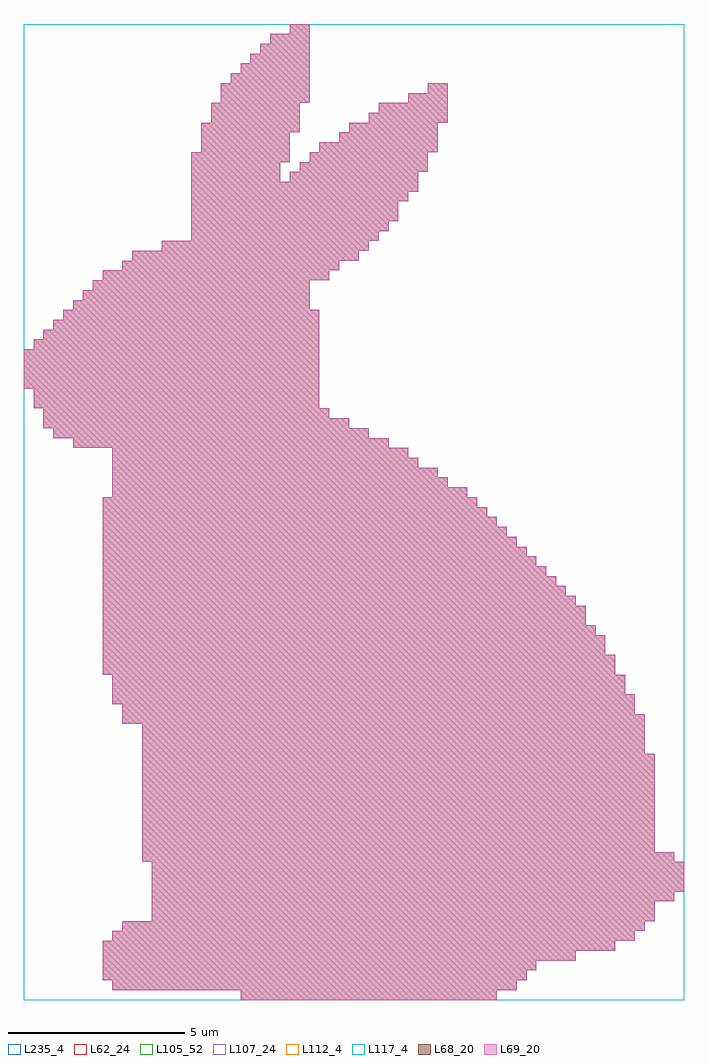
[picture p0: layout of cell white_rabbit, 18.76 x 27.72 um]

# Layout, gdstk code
import gdstk
lib = gdstk.Library(unit=1e-6, precision=1e-09)
def R(c, l, rs):  # rectangles x0, y0, x1, y1
    for r in rs: c.add(gdstk.rectangle(r[:2], r[2:], *l))
def A(c, l, x, y, w, h, nx, ny, dx, dy):  # array of equal rectangles
    R(c, l, [(x+i*dx, y+j*dy, x+i*dx+w, y+j*dy+h) for i in range(nx) for j in range(ny)])
L62_24 = (62, 24)
L68_20 = (68, 20)
L69_20 = (69, 20)
L105_52 = (105, 52)
L107_24 = (107, 24)
L112_4 = (112, 4)
L117_4 = (117, 4)
L235_4 = (235, 4)

white_rabbit = lib.new_cell('white_rabbit')
R(white_rabbit, L62_24, [(0,0,18.76,27.72)])
A(white_rabbit, L68_20, 6.16, 0, 0.28, 0.28, 26, 1, 0.28, 0)
A(white_rabbit, L68_20, 2.52, 0.28, 0.28, 0.28, 41, 1, 0.28, 0)
A(white_rabbit, L68_20, 2.24, 0.56, 0.28, 0.28, 43, 2, 0.28, 12.04)
A(white_rabbit, L68_20, 2.24, 0.84, 0.28, 0.28, 44, 2, 0.28, 11.48)
A(white_rabbit, L68_20, 2.24, 1.12, 0.28, 0.28, 48, 2, 0.28, 10.08)
A(white_rabbit, L68_20, 2.24, 1.4, 0.28, 0.28, 52, 2, 0.28, 7.84)
A(white_rabbit, L68_20, 2.52, 1.68, 0.28, 0.28, 53, 2, 0.28, 6.72)
A(white_rabbit, L68_20, 2.8, 1.96, 0.28, 0.28, 53, 2, 0.28, 5.88)
A(white_rabbit, L68_20, 3.64, 2.24, 0.28, 0.28, 51, 2, 0.28, 0.28)
A(white_rabbit, L68_20, 3.64, 2.8, 0.28, 0.28, 53, 1, 0.28, 0)
A(white_rabbit, L68_20, 3.64, 3.08, 0.28, 0.28, 54, 3, 0.28, 0.28)
A(white_rabbit, L68_20, 3.36, 3.92, 0.28, 0.28, 54, 1, 0.28, 0)
A(white_rabbit, L68_20, 3.36, 4.2, 0.28, 0.28, 52, 10, 0.28, 0.28)
A(white_rabbit, L68_20, 3.36, 7, 0.28, 0.28, 51, 3, 0.28, 0.28)
A(white_rabbit, L68_20, 2.8, 8.12, 0.28, 0.28, 52, 1, 0.28, 0)
A(white_rabbit, L68_20, 2.52, 8.68, 0.28, 0.28, 52, 2, 0.28, 0.28)
A(white_rabbit, L68_20, 2.24, 9.52, 0.28, 0.28, 52, 1, 0.28, 0)
A(white_rabbit, L68_20, 2.24, 9.8, 0.28, 0.28, 51, 2, 0.28, 0.28)
A(white_rabbit, L68_20, 2.24, 10.36, 0.28, 0.28, 50, 1, 0.28, 0)
A(white_rabbit, L68_20, 2.24, 10.64, 0.28, 0.28, 49, 2, 0.28, 0.28)
A(white_rabbit, L68_20, 2.24, 11.48, 0.28, 0.28, 47, 1, 0.28, 0)
A(white_rabbit, L68_20, 2.24, 11.76, 0.28, 0.28, 46, 1, 0.28, 0)
A(white_rabbit, L68_20, 2.24, 12.04, 0.28, 0.28, 45, 1, 0.28, 0)
A(white_rabbit, L68_20, 2.24, 12.88, 0.28, 0.28, 42, 1, 0.28, 0)
A(white_rabbit, L68_20, 2.24, 13.16, 0.28, 0.28, 41, 1, 0.28, 0)
A(white_rabbit, L68_20, 2.24, 13.44, 0.28, 0.28, 40, 1, 0.28, 0)
A(white_rabbit, L68_20, 2.24, 13.72, 0.28, 0.28, 39, 1, 0.28, 0)
A(white_rabbit, L68_20, 2.24, 14, 0.28, 0.28, 38, 1, 0.28, 0)
A(white_rabbit, L68_20, 2.52, 14.28, 0.28, 0.28, 36, 1, 0.28, 0)
A(white_rabbit, L68_20, 2.52, 14.56, 0.28, 0.28, 34, 1, 0.28, 0)
A(white_rabbit, L68_20, 2.52, 14.84, 0.28, 0.28, 33, 1, 0.28, 0)
A(white_rabbit, L68_20, 2.52, 15.12, 0.28, 0.28, 31, 1, 0.28, 0)
A(white_rabbit, L68_20, 2.52, 15.4, 0.28, 0.28, 30, 1, 0.28, 0)
A(white_rabbit, L68_20, 1.4, 15.68, 0.28, 0.28, 32, 1, 0.28, 0)
A(white_rabbit, L68_20, 0.84, 15.96, 0.28, 0.28, 32, 1, 0.28, 0)
A(white_rabbit, L68_20, 0.56, 16.24, 0.28, 0.28, 31, 1, 0.28, 0)
A(white_rabbit, L68_20, 0.56, 16.52, 0.28, 0.28, 29, 1, 0.28, 0)
A(white_rabbit, L68_20, 0.28, 16.8, 0.28, 0.28, 29, 2, 0.28, 0.28)
A(white_rabbit, L68_20, 0, 17.36, 0.28, 0.28, 30, 4, 0.28, 0.28)
A(white_rabbit, L68_20, 0.28, 18.48, 0.28, 0.28, 29, 1, 0.28, 0)
A(white_rabbit, L68_20, 0.56, 18.76, 0.28, 0.28, 28, 1, 0.28, 0)
A(white_rabbit, L68_20, 0.84, 19.04, 0.28, 0.28, 27, 1, 0.28, 0)
A(white_rabbit, L68_20, 1.12, 19.32, 0.28, 0.28, 26, 1, 0.28, 0)
A(white_rabbit, L68_20, 1.4, 19.6, 0.28, 0.28, 24, 1, 0.28, 0)
A(white_rabbit, L68_20, 1.68, 19.88, 0.28, 0.28, 23, 1, 0.28, 0)
A(white_rabbit, L68_20, 1.96, 20.16, 0.28, 0.28, 22, 1, 0.28, 0)
A(white_rabbit, L68_20, 2.24, 20.44, 0.28, 0.28, 23, 1, 0.28, 0)
A(white_rabbit, L68_20, 2.8, 20.72, 0.28, 0.28, 22, 1, 0.28, 0)
A(white_rabbit, L68_20, 3.08, 21, 0.28, 0.28, 23, 1, 0.28, 0)
A(white_rabbit, L68_20, 3.92, 21.28, 0.28, 0.28, 21, 1, 0.28, 0)
A(white_rabbit, L68_20, 4.76, 21.56, 0.28, 0.28, 19, 1, 0.28, 0)
A(white_rabbit, L68_20, 4.76, 21.84, 0.28, 0.28, 20, 1, 0.28, 0)
A(white_rabbit, L68_20, 4.76, 22.12, 0.28, 0.28, 21, 2, 0.28, 0.28)
A(white_rabbit, L68_20, 4.76, 22.68, 0.28, 0.28, 22, 1, 0.28, 0)
A(white_rabbit, L68_20, 4.76, 22.96, 0.28, 0.28, 23, 1, 0.28, 0)
A(white_rabbit, L68_20, 4.76, 23.24, 0.28, 0.28, 9, 2, 0.28, 0.28)
A(white_rabbit, L68_20, 7.56, 23.24, 0.28, 0.28, 13, 1, 0.28, 0)
A(white_rabbit, L68_20, 7.84, 23.52, 0.28, 0.28, 13, 1, 0.28, 0)
A(white_rabbit, L68_20, 4.76, 23.8, 0.28, 0.28, 10, 1, 0.28, 0)
A(white_rabbit, L68_20, 8.12, 23.8, 0.28, 0.28, 12, 1, 0.28, 0)
A(white_rabbit, L68_20, 5.04, 24.08, 0.28, 0.28, 9, 2, 0.28, 0.28)
A(white_rabbit, L68_20, 8.4, 24.08, 0.28, 0.28, 12, 1, 0.28, 0)
A(white_rabbit, L68_20, 8.96, 24.36, 0.28, 0.28, 10, 1, 0.28, 0)
A(white_rabbit, L68_20, 5.04, 24.64, 0.28, 0.28, 10, 1, 0.28, 0)
A(white_rabbit, L68_20, 9.24, 24.64, 0.28, 0.28, 9, 1, 0.28, 0)
A(white_rabbit, L68_20, 5.32, 24.92, 0.28, 0.28, 9, 2, 0.28, 0.28)
A(white_rabbit, L68_20, 9.8, 24.92, 0.28, 0.28, 8, 1, 0.28, 0)
A(white_rabbit, L68_20, 10.08, 25.2, 0.28, 0.28, 7, 1, 0.28, 0)
A(white_rabbit, L68_20, 5.6, 25.48, 0.28, 0.28, 9, 2, 0.28, 0.28)
A(white_rabbit, L68_20, 10.92, 25.48, 0.28, 0.28, 4, 1, 0.28, 0)
A(white_rabbit, L68_20, 5.88, 26.04, 0.28, 0.28, 8, 1, 0.28, 0)
A(white_rabbit, L68_20, 6.16, 26.32, 0.28, 0.28, 7, 1, 0.28, 0)
A(white_rabbit, L68_20, 6.44, 26.6, 0.28, 0.28, 6, 1, 0.28, 0)
A(white_rabbit, L68_20, 6.72, 26.88, 0.28, 0.28, 5, 1, 0.28, 0)
A(white_rabbit, L68_20, 7, 27.16, 0.28, 0.28, 4, 1, 0.28, 0)
R(white_rabbit, L68_20, [(11.48,25.76,11.76,26.04), (11.76,25.76,12.04,26.04), (7.56,27.44,7.84,27.72), (7.84,27.44,8.12,27.72)])
A(white_rabbit, L69_20, 6.16, 0, 0.28, 0.28, 26, 1, 0.28, 0)
A(white_rabbit, L69_20, 2.52, 0.28, 0.28, 0.28, 41, 1, 0.28, 0)
A(white_rabbit, L69_20, 2.24, 0.56, 0.28, 0.28, 43, 2, 0.28, 12.04)
A(white_rabbit, L69_20, 2.24, 0.84, 0.28, 0.28, 44, 2, 0.28, 11.48)
A(white_rabbit, L69_20, 2.24, 1.12, 0.28, 0.28, 48, 2, 0.28, 10.08)
A(white_rabbit, L69_20, 2.24, 1.4, 0.28, 0.28, 52, 2, 0.28, 7.84)
A(white_rabbit, L69_20, 2.52, 1.68, 0.28, 0.28, 53, 2, 0.28, 6.72)
A(white_rabbit, L69_20, 2.8, 1.96, 0.28, 0.28, 53, 2, 0.28, 5.88)
A(white_rabbit, L69_20, 3.64, 2.24, 0.28, 0.28, 51, 2, 0.28, 0.28)
A(white_rabbit, L69_20, 3.64, 2.8, 0.28, 0.28, 53, 1, 0.28, 0)
A(white_rabbit, L69_20, 3.64, 3.08, 0.28, 0.28, 54, 3, 0.28, 0.28)
A(white_rabbit, L69_20, 3.36, 3.92, 0.28, 0.28, 54, 1, 0.28, 0)
A(white_rabbit, L69_20, 3.36, 4.2, 0.28, 0.28, 52, 10, 0.28, 0.28)
A(white_rabbit, L69_20, 3.36, 7, 0.28, 0.28, 51, 3, 0.28, 0.28)
A(white_rabbit, L69_20, 2.8, 8.12, 0.28, 0.28, 52, 1, 0.28, 0)
A(white_rabbit, L69_20, 2.52, 8.68, 0.28, 0.28, 52, 2, 0.28, 0.28)
A(white_rabbit, L69_20, 2.24, 9.52, 0.28, 0.28, 52, 1, 0.28, 0)
A(white_rabbit, L69_20, 2.24, 9.8, 0.28, 0.28, 51, 2, 0.28, 0.28)
A(white_rabbit, L69_20, 2.24, 10.36, 0.28, 0.28, 50, 1, 0.28, 0)
A(white_rabbit, L69_20, 2.24, 10.64, 0.28, 0.28, 49, 2, 0.28, 0.28)
A(white_rabbit, L69_20, 2.24, 11.48, 0.28, 0.28, 47, 1, 0.28, 0)
A(white_rabbit, L69_20, 2.24, 11.76, 0.28, 0.28, 46, 1, 0.28, 0)
A(white_rabbit, L69_20, 2.24, 12.04, 0.28, 0.28, 45, 1, 0.28, 0)
A(white_rabbit, L69_20, 2.24, 12.88, 0.28, 0.28, 42, 1, 0.28, 0)
A(white_rabbit, L69_20, 2.24, 13.16, 0.28, 0.28, 41, 1, 0.28, 0)
A(white_rabbit, L69_20, 2.24, 13.44, 0.28, 0.28, 40, 1, 0.28, 0)
A(white_rabbit, L69_20, 2.24, 13.72, 0.28, 0.28, 39, 1, 0.28, 0)
A(white_rabbit, L69_20, 2.24, 14, 0.28, 0.28, 38, 1, 0.28, 0)
A(white_rabbit, L69_20, 2.52, 14.28, 0.28, 0.28, 36, 1, 0.28, 0)
A(white_rabbit, L69_20, 2.52, 14.56, 0.28, 0.28, 34, 1, 0.28, 0)
A(white_rabbit, L69_20, 2.52, 14.84, 0.28, 0.28, 33, 1, 0.28, 0)
A(white_rabbit, L69_20, 2.52, 15.12, 0.28, 0.28, 31, 1, 0.28, 0)
A(white_rabbit, L69_20, 2.52, 15.4, 0.28, 0.28, 30, 1, 0.28, 0)
A(white_rabbit, L69_20, 1.4, 15.68, 0.28, 0.28, 32, 1, 0.28, 0)
A(white_rabbit, L69_20, 0.84, 15.96, 0.28, 0.28, 32, 1, 0.28, 0)
A(white_rabbit, L69_20, 0.56, 16.24, 0.28, 0.28, 31, 1, 0.28, 0)
A(white_rabbit, L69_20, 0.56, 16.52, 0.28, 0.28, 29, 1, 0.28, 0)
A(white_rabbit, L69_20, 0.28, 16.8, 0.28, 0.28, 29, 2, 0.28, 0.28)
A(white_rabbit, L69_20, 0, 17.36, 0.28, 0.28, 30, 4, 0.28, 0.28)
A(white_rabbit, L69_20, 0.28, 18.48, 0.28, 0.28, 29, 1, 0.28, 0)
A(white_rabbit, L69_20, 0.56, 18.76, 0.28, 0.28, 28, 1, 0.28, 0)
A(white_rabbit, L69_20, 0.84, 19.04, 0.28, 0.28, 27, 1, 0.28, 0)
A(white_rabbit, L69_20, 1.12, 19.32, 0.28, 0.28, 26, 1, 0.28, 0)
A(white_rabbit, L69_20, 1.4, 19.6, 0.28, 0.28, 24, 1, 0.28, 0)
A(white_rabbit, L69_20, 1.68, 19.88, 0.28, 0.28, 23, 1, 0.28, 0)
A(white_rabbit, L69_20, 1.96, 20.16, 0.28, 0.28, 22, 1, 0.28, 0)
A(white_rabbit, L69_20, 2.24, 20.44, 0.28, 0.28, 23, 1, 0.28, 0)
A(white_rabbit, L69_20, 2.8, 20.72, 0.28, 0.28, 22, 1, 0.28, 0)
A(white_rabbit, L69_20, 3.08, 21, 0.28, 0.28, 23, 1, 0.28, 0)
A(white_rabbit, L69_20, 3.92, 21.28, 0.28, 0.28, 21, 1, 0.28, 0)
A(white_rabbit, L69_20, 4.76, 21.56, 0.28, 0.28, 19, 1, 0.28, 0)
A(white_rabbit, L69_20, 4.76, 21.84, 0.28, 0.28, 20, 1, 0.28, 0)
A(white_rabbit, L69_20, 4.76, 22.12, 0.28, 0.28, 21, 2, 0.28, 0.28)
A(white_rabbit, L69_20, 4.76, 22.68, 0.28, 0.28, 22, 1, 0.28, 0)
A(white_rabbit, L69_20, 4.76, 22.96, 0.28, 0.28, 23, 1, 0.28, 0)
A(white_rabbit, L69_20, 4.76, 23.24, 0.28, 0.28, 9, 2, 0.28, 0.28)
A(white_rabbit, L69_20, 7.56, 23.24, 0.28, 0.28, 13, 1, 0.28, 0)
A(white_rabbit, L69_20, 7.84, 23.52, 0.28, 0.28, 13, 1, 0.28, 0)
A(white_rabbit, L69_20, 4.76, 23.8, 0.28, 0.28, 10, 1, 0.28, 0)
A(white_rabbit, L69_20, 8.12, 23.8, 0.28, 0.28, 12, 1, 0.28, 0)
A(white_rabbit, L69_20, 5.04, 24.08, 0.28, 0.28, 9, 2, 0.28, 0.28)
A(white_rabbit, L69_20, 8.4, 24.08, 0.28, 0.28, 12, 1, 0.28, 0)
A(white_rabbit, L69_20, 8.96, 24.36, 0.28, 0.28, 10, 1, 0.28, 0)
A(white_rabbit, L69_20, 5.04, 24.64, 0.28, 0.28, 10, 1, 0.28, 0)
A(white_rabbit, L69_20, 9.24, 24.64, 0.28, 0.28, 9, 1, 0.28, 0)
A(white_rabbit, L69_20, 5.32, 24.92, 0.28, 0.28, 9, 2, 0.28, 0.28)
A(white_rabbit, L69_20, 9.8, 24.92, 0.28, 0.28, 8, 1, 0.28, 0)
A(white_rabbit, L69_20, 10.08, 25.2, 0.28, 0.28, 7, 1, 0.28, 0)
A(white_rabbit, L69_20, 5.6, 25.48, 0.28, 0.28, 9, 2, 0.28, 0.28)
A(white_rabbit, L69_20, 10.92, 25.48, 0.28, 0.28, 4, 1, 0.28, 0)
A(white_rabbit, L69_20, 5.88, 26.04, 0.28, 0.28, 8, 1, 0.28, 0)
A(white_rabbit, L69_20, 6.16, 26.32, 0.28, 0.28, 7, 1, 0.28, 0)
A(white_rabbit, L69_20, 6.44, 26.6, 0.28, 0.28, 6, 1, 0.28, 0)
A(white_rabbit, L69_20, 6.72, 26.88, 0.28, 0.28, 5, 1, 0.28, 0)
A(white_rabbit, L69_20, 7, 27.16, 0.28, 0.28, 4, 1, 0.28, 0)
R(white_rabbit, L69_20, [(11.48,25.76,11.76,26.04), (11.76,25.76,12.04,26.04), (7.56,27.44,7.84,27.72), (7.84,27.44,8.12,27.72)])
R(white_rabbit, L105_52, [(0,0,18.76,27.72)])
R(white_rabbit, L107_24, [(0,0,18.76,27.72)])
R(white_rabbit, L112_4, [(0,0,18.76,27.72)])
R(white_rabbit, L117_4, [(0,0,18.76,27.72)])
R(white_rabbit, L235_4, [(0,0,18.76,27.72)])

lib.write_gds('white_rabbit.gds')
